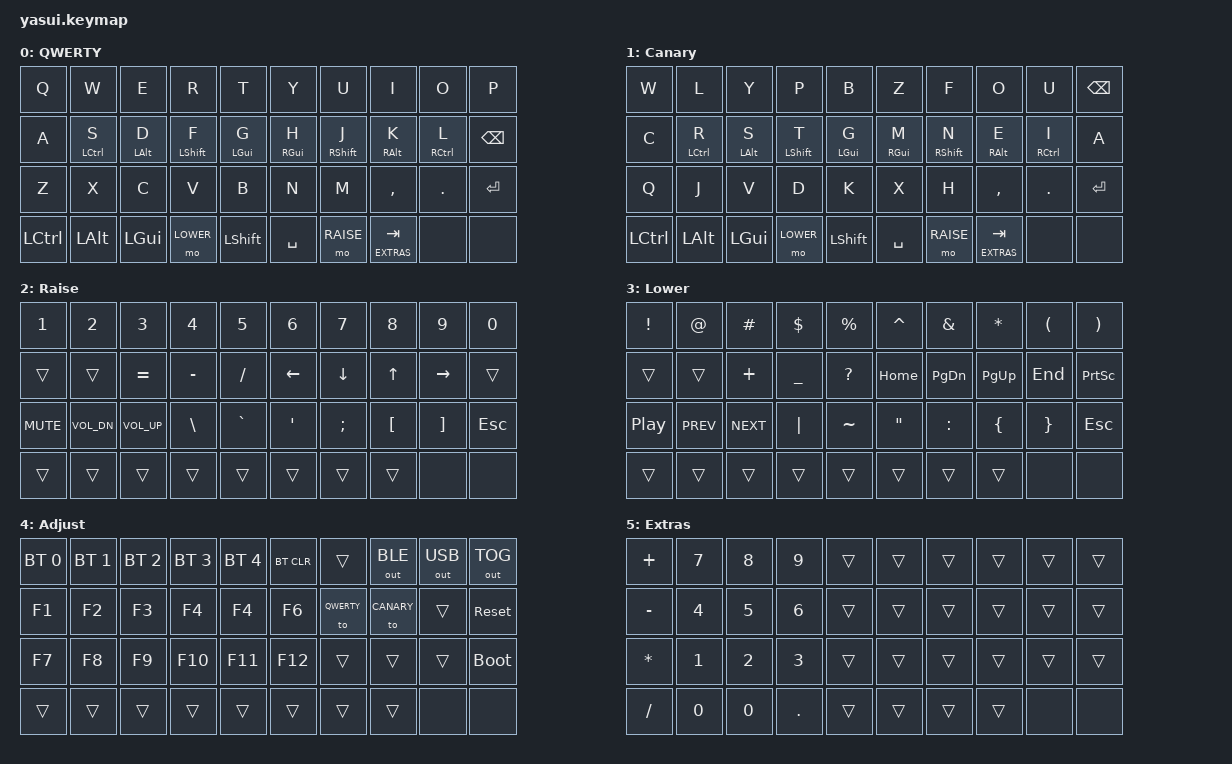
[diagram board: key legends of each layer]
/*
 * Copyright (c) 2020 The ZMK Contributors
 *
 * SPDX-License-Identifier: MIT
 */

#include <behaviors.dtsi>
#include <dt-bindings/zmk/keys.h>
#include <dt-bindings/zmk/bt.h>
#include <dt-bindings/zmk/outputs.h>
#include <dt-bindings/zmk/ext_power.h>
#include "oled.dtsi"

#define QWERTY 0
#define CANARY 1
#define RAISE 2
#define LOWER 3
#define ADJUST 4
#define EXTRAS 5

/ {
    conditional_layers {
        compatible = "zmk,conditional-layers";
        tri_layer {
            if-layers = <RAISE LOWER>;
            then-layer = <ADJUST>;
        };
    };
};

/ {
    behaviors {
        hm: homerow_mods {
            compatible = "zmk,behavior-hold-tap";
            #binding-cells = <2>;
            tapping-term-ms = <225>;
            flavor = "tap-preferred";
            bindings = <&kp>, <&kp>;
        };
    };
};


/ {
       keymap {
              compatible = "zmk,keymap";

               qwerty_layer {
                     display-name = "QWERTY";
                     bindings = <
       &kp Q     &kp W       &kp E      &kp R       &kp T      &kp Y      &kp U       &kp I          &kp O       &kp P
       &kp A     &hm LCTRL S &hm LALT D &hm LSHFT F &hm LGUI G &hm RGUI H &hm RSHFT J &hm RALT K     &hm RCTRL L &kp BSPC
       &kp Z     &kp X       &kp C      &kp V       &kp B      &kp N      &kp M       &kp COMMA      &kp DOT     &kp ENTER
       &kp LCTRL &kp LALT    &kp LGUI   &mo LOWER   &kp LSHIFT &kp SPACE  &mo RAISE   &lt EXTRAS TAB &none       &none
                     >;
              };

                     canary_layer {
                     display-name = "Canary";
                     bindings = <
       &kp W     &kp L       &kp Y      &kp P       &kp B      &kp Z      &kp F       &kp O          &kp U       &kp BSPC
       &kp C     &hm LCTRL R &hm LALT S &hm LSHFT T &hm LGUI G &hm RGUI M &hm RSHFT N &hm RALT E     &hm RCTRL I &kp A
       &kp Q     &kp J       &kp V      &kp D       &kp K      &kp X      &kp H       &kp COMMA      &kp DOT     &kp ENTER
       &kp LCTRL &kp LALT    &kp LGUI   &mo LOWER   &kp LSHIFT &kp SPACE  &mo RAISE   &lt EXTRAS TAB &none       &none
                     >;
              };

              raise_layer {
                     display-name = "Raise";
                     bindings = <
    &kp N1     &kp N2       &kp N3       &kp N4    &kp N5     &kp N6   &kp N7   &kp N8   &kp N9    &kp N0
    &trans     &trans       &kp EQUAL    &kp MINUS &kp SLASH  &kp LEFT &kp DOWN &kp UP   &kp RIGHT &trans
    &kp C_MUTE &kp C_VOL_DN &kp C_VOL_UP &kp BSLH  &kp GRAVE  &kp SQT  &kp SEMI &kp LBKT &kp RBKT  &kp ESC
    &trans     &trans       &trans       &trans    &trans     &trans   &trans   &trans   &none     &none
                     >;
              };

              lower_layer {
                     display-name = "Lower";
                     bindings = <
    &kp EXCL &kp AT     &kp HASH   &kp DLLR  &kp PRCNT &kp CARET &kp AMPS  &kp STAR  &kp LPAR &kp RPAR
    &trans   &trans     &kp PLUS   &kp UNDER &kp QMARK &kp HOME  &kp PG_DN &kp PG_UP &kp END  &kp PSCRN
    &kp C_PP &kp C_PREV &kp C_NEXT &kp PIPE  &kp TILDE &kp DQT   &kp COLON &kp LBRC  &kp RBRC &kp ESC
    &trans   &trans     &trans     &trans    &trans    &trans    &trans    &trans    &none    &none
                     >;
              };

              adjust_layer {
                     display-name = "Adjust";
                     bindings = <
    &bt BT_SEL 0 &bt BT_SEL 1 &bt BT_SEL 2 &bt BT_SEL 3 &bt BT_SEL 4 &bt BT_CLR &trans     &out OUT_BLE &out OUT_USB &out OUT_TOG
    &kp F1       &kp F2       &kp F3       &kp F4       &kp F4       &kp F6     &to QWERTY &to CANARY   &trans       &sys_reset
    &kp F7       &kp F8       &kp F9       &kp F10      &kp F11      &kp F12    &trans     &trans       &trans       &bootloader
    &trans       &trans       &trans       &trans       &trans       &trans     &trans     &trans       &none        &none
                     >;
              };

              extras_layer {
                     display-name = "Extras";
                     bindings = <
    &kp PLUS  &kp N7 &kp N8 &kp N9  &trans &trans &trans &trans &trans &trans
    &kp MINUS &kp N4 &kp N5 &kp N6  &trans &trans &trans &trans &trans &trans
    &kp STAR  &kp N1 &kp N2 &kp N3  &trans &trans &trans &trans &trans &trans
    &kp SLASH &kp N0 &kp N0 &kp DOT &trans &trans &trans &trans &none  &none
                     >;
              };
       };
};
